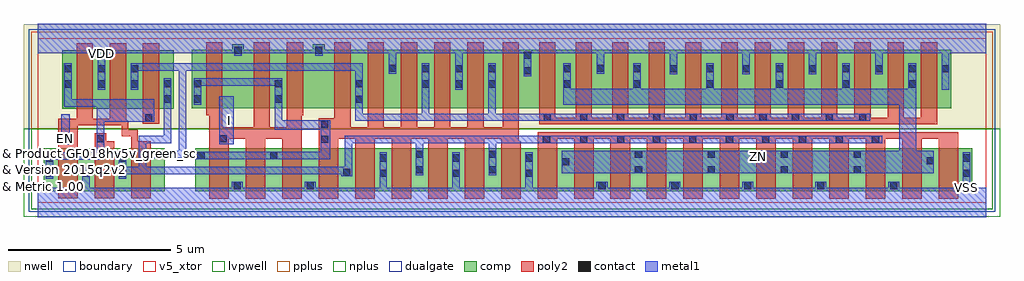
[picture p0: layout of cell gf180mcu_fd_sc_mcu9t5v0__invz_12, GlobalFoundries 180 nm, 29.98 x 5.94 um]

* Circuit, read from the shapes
.subckt gf180mcu_fd_sc_mcu9t5v0__invz_12 EN I VDD VSS ZN
XM1 VSS EN n1 VSUBS nfet_05v0 w=1.32u l=0.6u
XM2 n2 n1 VSS VSUBS nfet_05v0 w=1.32u l=0.6u
XM3 n3 EN n2 VSUBS nfet_05v0 w=1.32u l=0.6u
XM4 VSS I n4 VSUBS nfet_05v0 w=1.32u l=0.6u m=3
XM5 n2 n4 VSS VSUBS nfet_05v0 w=1.32u l=0.6u m=6
XM6 ZN n2 VSS VSUBS nfet_05v0 w=1.32u l=0.6u m=12
XM7 VDD EN n1 n5 pfet_05v0 w=1.8u l=0.5u
XM8 n3 EN VDD n5 pfet_05v0 w=1.8u l=0.5u
XM9 n2 n1 n3 n5 pfet_05v0 w=1.8u l=0.5u
XM10 VDD I n4 n5 pfet_05v0 w=1.8u l=0.5u m=3
XM11 n3 n4 VDD n5 pfet_05v0 w=1.8u l=0.5u m=6
XM12 ZN n3 VDD n5 pfet_05v0 w=1.8u l=0.5u m=12
.ends

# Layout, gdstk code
import gdstk
lib = gdstk.Library(unit=1e-6, precision=1e-09)
def R(c, l, rs):  # rectangles x0, y0, x1, y1
    for r in rs: c.add(gdstk.rectangle(r[:2], r[2:], *l))
def A(c, l, x, y, w, h, nx, ny, dx, dy):  # array of equal rectangles
    R(c, l, [(x+i*dx, y+j*dy, x+i*dx+w, y+j*dy+h) for i in range(nx) for j in range(ny)])
def P(c, l, *ps):  # polygons
    for p in ps: c.add(gdstk.Polygon(p, *l))
boundary = (0, 0)
nwell = (21, 0)
comp = (22, 0)
poly2 = (30, 0)
pplus = (31, 0)
nplus = (32, 0)
contact = (33, 0)
metal1 = (34, 0)
dualgate = (55, 0)
v5_xtor = (112, 1)
lvpwell = (204, 0)

gf180mcu_fd_sc_mcu9t5v0_ = lib.new_cell('gf180mcu_fd_sc_mcu9t5v0__invz_12')
R(gf180mcu_fd_sc_mcu9t5v0_, boundary, [(0,0,29.12,5.04)])
R(gf180mcu_fd_sc_mcu9t5v0_, nwell, [(-0.43,2.265,29.55,5.47)])
R(gf180mcu_fd_sc_mcu9t5v0_, comp, [(4.825,0.34,28.705,1.66), (0.18,0.345,3.9,1.665), (0.745,2.875,4.165,4.675)])
P(gf180mcu_fd_sc_mcu9t5v0_, comp, [(4.725,2.9),(4.725,4.7),(5.965,4.7),(5.965,4.86),(6.325,4.86),(6.325,4.7),(8.445,4.7),(8.445,4.86),(8.805,4.86),(8.805,4.7),(28.055,4.7),(28.055,2.9)])
R(gf180mcu_fd_sc_mcu9t5v0_, poly2, [(3.225,2.415,3.725,4.895)])
P(gf180mcu_fd_sc_mcu9t5v0_, poly2, [(1.74,0.125),(1.74,2.135),(2.1,2.135),(2.1,1.885),(2.34,1.885),(2.34,0.125)],
  [(0.62,0.125),(0.62,2.575),(1.185,2.575),(1.185,4.895),(1.685,4.895),(1.685,2.575),(2.205,2.575),(2.205,4.895),(2.705,4.895),(2.705,2.52),(2.765,2.52),(2.765,2.24),(3.06,2.24),(3.06,1.885),(3.46,1.885),(3.46,0.125),(2.86,0.125),(2.86,2.04),(2.565,2.04),(2.565,2.375),(1.22,2.375),(1.22,0.125)],
  [(5.265,0.12),(5.265,2.68),(5.165,2.68),(5.165,4.92),(5.665,4.92),(5.665,2.32),(6.625,2.32),(6.625,4.92),(7.125,4.92),(7.125,2.32),(7.645,2.32),(7.645,4.92),(8.145,4.92),(8.145,2.68),(8.105,2.68),(8.105,0.12),(7.505,0.12),(7.505,1.96),(6.985,1.96),(6.985,0.12),(6.385,0.12),(6.385,1.96),(5.865,1.96),(5.865,0.12)],
  [(8.625,0.12),(8.625,2.59),(9.105,2.59),(9.105,4.92),(9.605,4.92),(9.605,2.32),(10.125,2.32),(10.125,4.92),(10.625,4.92),(10.625,2.32),(11.145,2.32),(11.145,4.92),(11.645,4.92),(11.645,2.32),(12.165,2.32),(12.165,4.92),(12.665,4.92),(12.665,2.32),(13.185,2.32),(13.185,4.92),(13.685,4.92),(13.685,2.32),(14.275,2.32),(14.275,4.92),(14.775,4.92),(14.775,1.88),(14.825,1.88),(14.825,0.12),(14.225,0.12),(14.225,1.96),(13.705,1.96),(13.705,0.12),(13.105,0.12),(13.105,1.96),(12.585,1.96),(12.585,0.12),(11.985,0.12),(11.985,1.96),(11.465,1.96),(11.465,0.12),(10.865,0.12),(10.865,1.96),(10.345,1.96),(10.345,0.12),(9.745,0.12),(9.745,1.96),(9.225,1.96),(9.225,0.12)],
  [(15.395,2.4),(15.395,4.92),(15.895,4.92),(15.895,2.6),(16.515,2.6),(16.515,4.92),(17.015,4.92),(17.015,2.6),(17.635,2.6),(17.635,4.92),(18.135,4.92),(18.135,2.6),(18.755,2.6),(18.755,4.92),(19.255,4.92),(19.255,2.6),(19.875,2.6),(19.875,4.92),(20.375,4.92),(20.375,2.6),(20.995,2.6),(20.995,4.92),(21.495,4.92),(21.495,2.6),(22.015,2.6),(22.015,4.92),(22.515,4.92),(22.515,2.6),(23.035,2.6),(23.035,4.92),(23.535,4.92),(23.535,2.6),(24.055,2.6),(24.055,4.92),(24.555,4.92),(24.555,2.6),(25.075,2.6),(25.075,4.92),(25.575,4.92),(25.575,2.6),(26.095,2.6),(26.095,4.92),(26.595,4.92),(26.595,2.6),(27.115,2.6),(27.115,4.92),(27.615,4.92),(27.615,2.4)],
  [(15.345,0.12),(15.345,2.16),(28.265,2.16),(28.265,0.12),(27.665,0.12),(27.665,1.96),(27.145,1.96),(27.145,0.12),(26.545,0.12),(26.545,1.96),(26.025,1.96),(26.025,0.12),(25.425,0.12),(25.425,1.96),(24.905,1.96),(24.905,0.12),(24.305,0.12),(24.305,1.96),(23.785,1.96),(23.785,0.12),(23.185,0.12),(23.185,1.96),(22.665,1.96),(22.665,0.12),(22.065,0.12),(22.065,1.96),(21.545,1.96),(21.545,0.12),(20.945,0.12),(20.945,1.96),(20.425,1.96),(20.425,0.12),(19.825,0.12),(19.825,1.96),(19.305,1.96),(19.305,0.12),(18.705,0.12),(18.705,1.96),(18.185,1.96),(18.185,0.12),(17.585,0.12),(17.585,1.96),(17.065,1.96),(17.065,0.12),(16.465,0.12),(16.465,1.96),(15.945,1.96),(15.945,0.12)])
R(gf180mcu_fd_sc_mcu9t5v0_, pplus, [(-0.2,2.265,29.32,5.24)])
R(gf180mcu_fd_sc_mcu9t5v0_, nplus, [(-0.2,-0.2,29.32,2.265)])
A(gf180mcu_fd_sc_mcu9t5v0_, contact, 17.215, 0.41, 0.22, 0.22, 5, 1, 2.24, 0)
A(gf180mcu_fd_sc_mcu9t5v0_, contact, 0.25, 0.79, 0.22, 0.22, 3, 1, 1.12, 0)
A(gf180mcu_fd_sc_mcu9t5v0_, contact, 10.495, 0.79, 0.22, 0.22, 3, 2, 2.24, 0.47)
A(gf180mcu_fd_sc_mcu9t5v0_, contact, 18.335, 0.9, 0.22, 0.22, 4, 2, 2.24, 0.47)
A(gf180mcu_fd_sc_mcu9t5v0_, contact, 0.815, 3.53, 0.22, 0.22, 3, 2, 1.02, 0.47)
A(gf180mcu_fd_sc_mcu9t5v0_, contact, 11.795, 3.53, 0.22, 0.22, 3, 2, 1.02, 0.47)
A(gf180mcu_fd_sc_mcu9t5v0_, contact, 22.665, 3.53, 0.22, 0.22, 3, 1, 2.04, 0)
A(gf180mcu_fd_sc_mcu9t5v0_, contact, 18.285, 4, 0.22, 0.22, 4, 1, 1.12, 0)
A(gf180mcu_fd_sc_mcu9t5v0_, contact, 22.665, 4, 0.22, 0.22, 6, 1, 1.02, 0)
R(gf180mcu_fd_sc_mcu9t5v0_, contact, [(6.015,0.41,6.235,0.63), (8.255,0.41,8.475,0.63), (28.415,0.79,28.635,1.01), (9.375,0.82,9.595,1.04), (11.615,0.9,11.835,1.12), (13.855,0.9,14.075,1.12), (16.095,1.145,16.315,1.365), (27.295,1.175,27.515,1.395), (0.25,1.26,0.47,1.48), (2.49,1.26,2.71,1.48), (28.415,1.26,28.635,1.48), (4.895,1.33,5.115,1.55), (7.135,1.33,7.355,1.55), (3.61,1.37,3.83,1.59), (11.615,1.37,11.835,1.59), (13.855,1.37,14.075,1.59), (8.695,1.83,8.915,2.05), (15.51,1.83,15.73,2.05), (16.655,1.83,16.875,2.05), (17.795,1.83,18.015,2.05), (18.89,1.83,19.11,2.05), (20.005,1.83,20.225,2.05), (21.13,1.83,21.35,2.05), (22.24,1.83,22.46,2.05), (23.375,1.83,23.595,2.05), (24.5,1.83,24.72,2.05), (25.615,1.83,25.835,2.05), (0.745,1.845,0.965,2.065), (1.81,1.845,2.03,2.065), (5.575,1.845,5.795,2.065), (8.695,2.3,8.915,2.52), (3.295,2.485,3.515,2.705), (15.53,2.51,15.75,2.73), (16.655,2.51,16.875,2.73), (17.785,2.51,18.005,2.73), (18.895,2.51,19.115,2.73), (20.015,2.51,20.235,2.73), (21.145,2.51,21.365,2.73), (22.16,2.51,22.38,2.73), (23.16,2.51,23.38,2.73), (24.195,2.51,24.415,2.73), (25.225,2.51,25.445,2.73), (9.755,3.065,9.975,3.285), (3.875,3.07,4.095,3.29), (4.795,3.07,5.015,3.29), (7.275,3.07,7.495,3.29), (16.145,3.53,16.365,3.75), (18.285,3.53,18.505,3.75), (20.525,3.53,20.745,3.75), (9.755,3.535,9.975,3.755), (3.875,3.54,4.095,3.76), (4.795,3.54,5.015,3.76), (7.275,3.54,7.495,3.76), (14.925,3.94,15.145,4.16), (16.145,4,16.365,4.22), (10.775,4.01,10.995,4.23), (17.165,4.02,17.385,4.24), (14.925,4.41,15.145,4.63), (6.035,4.57,6.255,4.79), (8.515,4.57,8.735,4.79)])
R(gf180mcu_fd_sc_mcu9t5v0_, metal1, [(0.71,1.77,0.97,2.71), (5.57,1.785,6.01,3.27)])
P(gf180mcu_fd_sc_mcu9t5v0_, metal1, [(0.245,0.73),(0.245,1.54),(1.805,1.54),(1.805,2.94),(0.81,2.94),(0.81,4.28),(1.04,4.28),(1.04,3.17),(3.575,3.17),(3.575,2.48),(2.035,2.48),(2.035,1.31),(0.475,1.31),(0.475,0.73)],
  [(4.835,1.325),(4.835,1.555),(8.69,1.555),(8.69,2.23),(7.27,2.23),(7.27,3.59),(5.02,3.59),(5.02,3.01),(4.79,3.01),(4.79,3.82),(7.5,3.82),(7.5,2.525),(8.975,2.525),(8.975,1.325)],
  [(3.55,1.365),(3.55,1.595),(4.33,1.595),(4.33,4.05),(3.08,4.05),(3.08,3.47),(2.85,3.47),(2.85,4.28),(9.98,4.28),(9.98,2.735),(11.79,2.735),(11.79,4.28),(12.02,4.28),(12.02,2.735),(13.83,2.735),(13.83,4.28),(14.06,4.28),(14.06,2.735),(25.57,2.735),(25.57,2.505),(9.75,2.505),(9.75,4.05),(4.56,4.05),(4.56,1.365)],
  [(2.485,0.73),(2.485,1.54),(2.715,1.54),(2.715,1.095),(3.09,1.095),(3.09,2.055),(3.87,2.055),(3.87,3.82),(4.1,3.82),(4.1,1.825),(3.32,1.825),(3.32,1.095),(9.43,1.095),(9.43,2.055),(25.94,2.055),(25.94,1.825),(14.08,1.825),(14.08,0.84),(13.85,0.84),(13.85,1.825),(11.84,1.825),(11.84,0.84),(11.61,0.84),(11.61,1.825),(9.66,1.825),(9.66,0.815),(9.315,0.815),(9.315,0.865),(2.715,0.865),(2.715,0.73)],
  [(16.09,0.895),(16.09,1.595),(26.45,1.595),(26.45,3.01),(16.14,3.01),(16.14,4.28),(16.37,4.28),(16.37,3.49),(18.28,3.49),(18.28,4.28),(18.51,4.28),(18.51,3.49),(20.52,3.49),(20.52,4.28),(20.75,4.28),(20.75,3.49),(22.66,3.49),(22.66,4.28),(22.89,4.28),(22.89,3.49),(24.7,3.49),(24.7,4.28),(24.93,4.28),(24.93,3.49),(26.735,3.49),(26.735,4.28),(26.97,4.28),(26.97,3.01),(26.98,3.01),(26.98,1.595),(27.52,1.595),(27.52,0.895)],
  [(0,-0.45),(0,0.45),(1.365,0.45),(1.365,1.07),(1.595,1.07),(1.595,0.45),(5.955,0.45),(5.955,0.635),(6.295,0.635),(6.295,0.45),(8.195,0.45),(8.195,0.635),(8.535,0.635),(8.535,0.45),(10.49,0.45),(10.49,1.54),(10.72,1.54),(10.72,0.45),(12.73,0.45),(12.73,1.54),(12.96,1.54),(12.96,0.45),(14.97,0.45),(14.97,1.54),(15.2,1.54),(15.2,0.45),(17.155,0.45),(17.155,0.635),(17.495,0.635),(17.495,0.45),(19.395,0.45),(19.395,0.635),(19.735,0.635),(19.735,0.45),(21.635,0.45),(21.635,0.635),(21.975,0.635),(21.975,0.45),(23.875,0.45),(23.875,0.635),(24.215,0.635),(24.215,0.45),(26.115,0.45),(26.115,0.635),(26.455,0.635),(26.455,0.45),(28.41,0.45),(28.41,1.54),(28.64,1.54),(28.64,0.45),(29.12,0.45),(29.12,-0.45)],
  [(1.83,3.47),(1.83,4.59),(0,4.59),(0,5.49),(29.12,5.49),(29.12,4.59),(27.99,4.59),(27.99,3.47),(27.76,3.47),(27.76,4.59),(25.95,4.59),(25.95,3.94),(25.72,3.94),(25.72,4.59),(23.91,4.59),(23.91,3.94),(23.68,3.94),(23.68,4.59),(21.87,4.59),(21.87,3.94),(21.64,3.94),(21.64,4.59),(19.63,4.59),(19.63,3.94),(19.4,3.94),(19.4,4.59),(17.39,4.59),(17.39,3.96),(17.16,3.96),(17.16,4.59),(15.15,4.59),(15.15,3.88),(14.92,3.88),(14.92,4.59),(13.04,4.59),(13.04,3.47),(12.81,3.47),(12.81,4.59),(11,4.59),(11,3.95),(10.77,3.95),(10.77,4.59),(8.74,4.59),(8.74,4.51),(8.51,4.51),(8.51,4.59),(6.26,4.59),(6.26,4.51),(6.03,4.51),(6.03,4.59),(2.06,4.59),(2.06,3.47)])
R(gf180mcu_fd_sc_mcu9t5v0_, dualgate, [(-0.28,-0.28,29.4,5.32)])
R(gf180mcu_fd_sc_mcu9t5v0_, v5_xtor, [(0,0,29.12,5.04)])
R(gf180mcu_fd_sc_mcu9t5v0_, lvpwell, [(-0.43,-0.43,29.55,2.265)])
gf180mcu_fd_sc_mcu9t5v0_.add(gdstk.Label('EN', (0.84,1.96), layer=34, texttype=10))
gf180mcu_fd_sc_mcu9t5v0_.add(gdstk.Label('I', (5.88,2.52), layer=34, texttype=10))
gf180mcu_fd_sc_mcu9t5v0_.add(gdstk.Label('VDD', (1.945,4.59), layer=34, texttype=10))
gf180mcu_fd_sc_mcu9t5v0_.add(gdstk.Label('VSS', (28.525,0.45), layer=34, texttype=10))
gf180mcu_fd_sc_mcu9t5v0_.add(gdstk.Label('ZN', (22.12,1.4), layer=34, texttype=10))
gf180mcu_fd_sc_mcu9t5v0_.add(gdstk.Label('& Vendor GLOBALFOUNDRIES', (0,2), layer=63, texttype=63))
gf180mcu_fd_sc_mcu9t5v0_.add(gdstk.Label('& Product GF018hv5v_green_sc9', (0,1.5), layer=63, texttype=63))
gf180mcu_fd_sc_mcu9t5v0_.add(gdstk.Label('& Version 2015q2v2', (0,1), layer=63, texttype=63))
gf180mcu_fd_sc_mcu9t5v0_.add(gdstk.Label('& Metric 1.00', (0,0.5), layer=63, texttype=63))

lib.write_gds('gf180mcu_fd_sc_mcu9t5v0__invz_12.gds')
